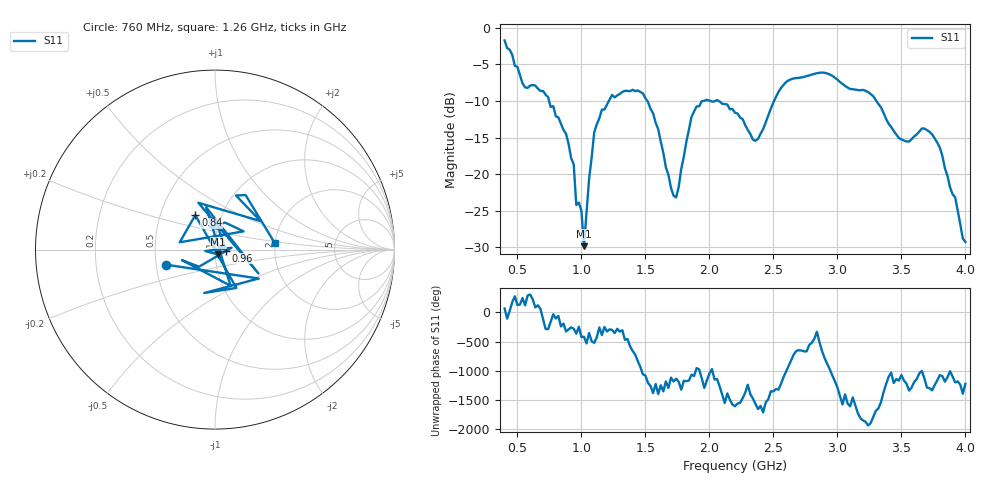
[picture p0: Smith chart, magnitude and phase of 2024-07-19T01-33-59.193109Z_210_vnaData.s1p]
!Created with skrf (http://scikit-rf.org).
# Hz S RI R 50.0
!freq ReS11 ImS11
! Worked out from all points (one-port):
!   181 points, 400 MHz to 4 GHz, reference 50 ohm
!   lowest |S11| = -29.8 dB at 1.02 GHz (marker M1), VSWR 1.07, Z = 51.7 - j2.8 ohm
!   |S11| at or under -10 dB: 747.8 MHz to 1.214 GHz (466.3 MHz wide, 47.5 % of centre); 1.515 GHz to 1.948 GHz (432.4 MHz wide, 25 % of centre); 3.305 GHz to end of sweep (the widest 3 of 5)
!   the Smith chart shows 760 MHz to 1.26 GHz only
!   S11 on the Smith chart (normalised r, x): 760 MHz: 0.56, -0.10; 840 MHz: 0.75, +0.30; 960 MHz: 1.13, -0.01; 1.26 GHz: 1.99, +0.16
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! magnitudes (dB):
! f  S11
! 400 MHz  -1.7
! 560 MHz  -8.1
! 760 MHz  -10.8
! 840 MHz  -13.1
! 860 MHz  -13.9
! 940 MHz  -18.6
! 960 MHz  -24.2
! 1 GHz  -25.0
! 1.02 GHz  -29.8
! 1.1 GHz  -14.3
! 1.26 GHz  -9.5
! 1.3 GHz  -9.0
! 1.48 GHz  -8.9
! 1.6 GHz  -13.8
! 1.72 GHz  -22.9
! 1.76 GHz  -21.8
! 1.86 GHz  -12.2
! 1.9 GHz  -10.7
! 2.2 GHz  -11.6
! 2.36 GHz  -15.4
! 2.54 GHz  -8.7
! 2.66 GHz  -6.9
! 3.1 GHz  -8.4
! 3.28 GHz  -9.3
! 3.56 GHz  -15.5
! 3.66 GHz  -13.7
! 3.78 GHz  -15.7
! 4 GHz  -29.2
